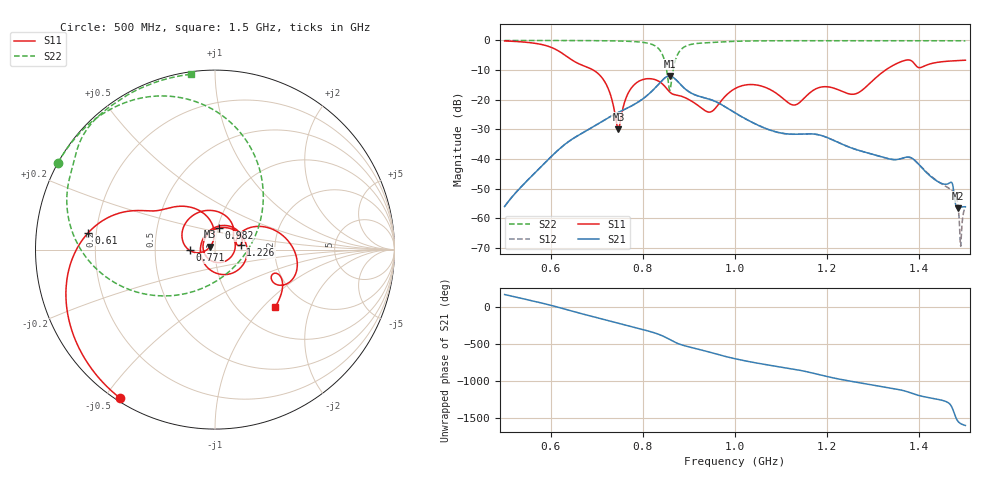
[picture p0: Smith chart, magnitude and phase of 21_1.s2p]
! TOUCHSTONE file generated by CST MICROWAVE STUDIO
! Date and time: Fri Oct  2 18:39:07 2020
! Project name: Scenario_1_Free_Space_out_of_line.cst
! Parameters = {Lambda=346.42; Step_1=17.321; dy1=0.82; dx1=173; L_HA=400; MT=2.54; Rad_Dielectric=30; Rad_Lower=7.3; Rad_Upper=30; a_HA=580; a_WG=246; b_HA=500; b_WG=121; c_HA=0; c_WG=187; d_feed=85; h_feed=15; h_lower=18; h_upper=40}
! Header version: 2018
! Port assignment regex: !\s*Touchstone port\s*([0-9]+)\s*=\s*(CST MWS port|CST DS port)\s*([0-9]+|Zmin|Zmax)\s*\(\"(.*)\"\)(\s*mode\s*([0-9]+))?.*
! Touchstone port assignment:
! Touchstone port 1 = CST MWS port 1 ("")
! Touchstone port 2 = CST MWS port 2 ("")
# GHz S DB R 50
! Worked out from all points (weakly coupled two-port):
!   1003 points, 500 MHz to 1.5 GHz, reference 50 ohm
!   highest |S21| = -11.97 dB at 858 MHz (marker M1); lowest = -56.6 dB at 1.483 GHz (marker M2)
!   lowest |S11| = -30.0 dB at 747 MHz (marker M3), VSWR 1.07, Z = 47.4 + j1.59 ohm
!   |S11| at or under -10 dB: 692.5 MHz to 1.327 GHz (634.1 MHz wide, 62.8 % of centre)
!   |S22| runs from -16.8 to 0.0 dB; largest |S21 - S12| = 0.0048
!   S11 on the Smith chart (normalised r, x): 500 MHz: 0.01, -0.55; 610 MHz: 0.17, +0.07; 771 MHz: 0.75, -0.01; 982 MHz: 1.01, +0.25; 1.226 GHz: 1.33, +0.07; 1.5 GHz: 1.44, -1.18
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0.5  -0.16 -122.8  -56.01 169.6  -55.98 169.7  -0.01 151.1
0.61  -2.96 172.3  -37.85 7.7  -37.85 7.7  -0.02 143.3
0.667  -8.27 145.7  -31.38 -90.1  -31.37 -90.1  -0.05 138.4
0.717  -13.84 105.9  -26.80 -170.8  -26.80 -170.8  -0.11 132.7
0.747  -29.96 148.0  -24.26 139.0  -24.27 139.0  -0.19 128.1
0.771  -16.99 -178.2  -22.44 100.0  -22.45 100.1  -0.31 123.2
0.834  -13.72 79.8  -14.79 -9.2  -14.80 -9.2  -2.74 84.8
0.858  -17.35 40.9  -11.97 -80.3  -11.97 -80.4  -16.74 -35.4
0.869  -18.30 30.9  -12.84 -116.1  -12.85 -116.2  -7.58 -142.2
0.891  -19.26 -3.4  -16.25 -165.8  -16.25 -165.7  -2.09 175.0
0.945  -24.17 -149.3  -19.82 107.5  -19.82 107.5  -0.73 149.4
0.982  -18.32 80.7  -22.70 44.9  -22.70 44.9  -0.41 143.3
1  -16.24 43.4  -24.41 18.7  -24.41 18.7  -0.30 140.7
1.078  -16.71 -72.2  -30.32 -72.7  -30.36 -72.8  -0.12 131.8
1.127  -21.78 -179.5  -31.63 -122.5  -31.65 -122.3  -0.10 127.4
1.167  -17.12 74.1  -31.52 -173.6  -31.53 -173.7  -0.11 124.1
1.226  -16.76 10.6  -34.57 102.3  -34.52 102.4  -0.09 119.7
1.334  -9.24 18.7  -39.94 -18.2  -39.93 -18.0  -0.09 111.6
1.468  -6.94 -36.5  -47.85 110.1  -50.20 148.3  -0.11 100.7
1.483  -6.80 -40.2  -56.64 -103.5  -54.73 89.2  -0.12 99.4
1.491  -6.74 -41.9  -56.23 -146.4  -66.33 -96.9  -0.12 98.7
1.5  -6.67 -43.7  -56.08 -166.8  -56.02 -167.1  -0.13 97.9
